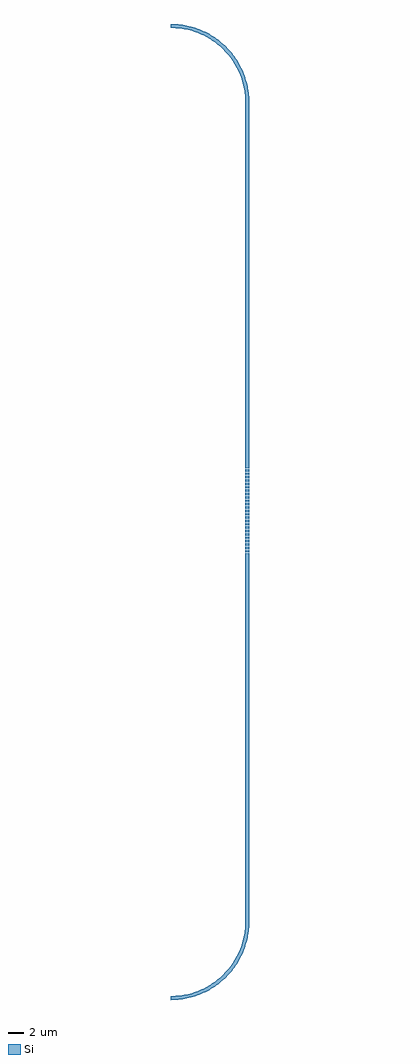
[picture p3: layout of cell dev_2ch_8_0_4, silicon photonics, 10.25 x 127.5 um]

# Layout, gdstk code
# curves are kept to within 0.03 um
import gdstk
lib = gdstk.Library(unit=1e-6, precision=1e-09)
def R(c, l, rs):  # rectangles x0, y0, x1, y1
    for r in rs: c.add(gdstk.rectangle(r[:2], r[2:], *l))
def A(c, l, x, y, w, h, nx, ny, dx, dy):  # array of equal rectangles
    R(c, l, [(x+i*dx, y+j*dy, x+i*dx+w, y+j*dy+h) for i in range(nx) for j in range(ny)])
def P(c, l, *ps):  # polygons
    for p in ps: c.add(gdstk.Polygon(p, *l))
Si = (1, 0)

dev_2ch_8_0_4 = lib.new_cell('dev_2ch_8_0_4')
A(dev_2ch_8_0_4, Si, -0.25, 47.78, 0.5, 0.308, 1, 26, 0, 0.44)
R(dev_2ch_8_0_4, Si, [(-0.25,0,0.25,47.78), (-0.25,59.22,0.25,107)])
P(dev_2ch_8_0_4, Si, [(-0.25,107),(-0.295,107.939),(-0.406,108.737),(-0.582,109.524),(-0.917,110.544),(-1.24,111.282),(-1.765,112.22),(-2.224,112.882),(-2.918,113.702),(-3.698,114.44),(-4.334,114.935),(-5.009,115.376),(-5.718,115.76),(-6.707,116.178),(-7.737,116.484),(-8.794,116.675),(-10,116.75),(-10,117.25),(-9.013,117.203),(-7.896,117.032),(-6.806,116.74),(-6.012,116.443),(-4.998,115.947),(-4.276,115.503),(-3.375,114.822),(-2.555,114.046),(-1.825,113.184),(-1.194,112.247),(-0.671,111.246),(-0.26,110.194),(-0.03,109.379),(0.133,108.548),(0.25,107)],
  [(-10,-10.25),(-10,-9.75),(-8.794,-9.675),(-7.737,-9.484),(-6.707,-9.178),(-5.718,-8.76),(-5.009,-8.376),(-4.334,-7.935),(-3.698,-7.44),(-3.105,-6.895),(-2.56,-6.302),(-2.065,-5.666),(-1.624,-4.991),(-1.24,-4.282),(-0.822,-3.293),(-0.516,-2.263),(-0.325,-1.206),(-0.25,0),(0.25,0),(0.203,-0.987),(0.032,-2.104),(-0.26,-3.194),(-0.557,-3.988),(-1.053,-5.002),(-1.497,-5.724),(-2.178,-6.625),(-2.752,-7.248),(-3.375,-7.822),(-4.276,-8.503),(-4.998,-8.947),(-6.012,-9.443),(-6.806,-9.74),(-7.896,-10.032),(-9.013,-10.203)])

lib.write_gds('dev_2ch_8_0_4.gds')
